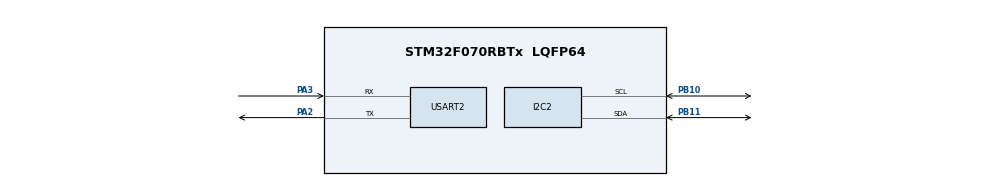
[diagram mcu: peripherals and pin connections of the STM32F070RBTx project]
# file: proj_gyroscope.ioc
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Mcu.Family=STM32F0
Mcu.Name=STM32F070RBTx
Mcu.Package=LQFP64
PA2.Mode=Asynchronous
PA2.Signal=USART2_TX
PA3.Mode=Asynchronous
PA3.Signal=USART2_RX
PB10.Mode=I2C
PB10.Signal=I2C2_SCL
PB11.Mode=I2C
PB11.Signal=I2C2_SDA
PC14-OSC32_IN.Mode=LSE-External-Oscillator
PC14-OSC32_IN.Signal=RCC_OSC32_IN
PC15-OSC32_OUT.Mode=LSE-External-Oscillator
PC15-OSC32_OUT.Signal=RCC_OSC32_OUT
PF0-OSC_IN.Mode=HSE-External-Oscillator
PF0-OSC_IN.Signal=RCC_OSC_IN
PF1-OSC_OUT.Mode=HSE-External-Oscillator
PF1-OSC_OUT.Signal=RCC_OSC_OUT
ProjectManager.HeapSize=0x200
ProjectManager.StackSize=0x400
ProjectManager.TargetToolchain=STM32CubeIDE
USART2.VirtualMode-Asynchronous=VM_ASYNC
board=custom

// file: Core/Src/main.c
/* USER CODE BEGIN Header */
/**
  ******************************************************************************
  * @file           : main.c
  * @brief          : Main program body
  ******************************************************************************
  * @attention
  *
  * <h2><center>&copy; Copyright (c) 2020 STMicroelectronics.
  * All rights reserved.</center></h2>
  *
  * This software component is licensed by ST under BSD 3-Clause license,
  * the "License"; You may not use this file except in compliance with the
  * License. You may obtain a copy of the License at:
  *                        opensource.org/licenses/BSD-3-Clause
  *
  ******************************************************************************
  */
/* USER CODE END Header */
#include "main.h"

/* USER CODE BEGIN Includes */
#include "stdbool.h"
#include "string.h"
#include "mp6050.h"

/* USER CODE END Includes */

I2C_HandleTypeDef hi2c2;

UART_HandleTypeDef huart2;

void SystemClock_Config(void);
static void MX_GPIO_Init(void);
static void MX_I2C2_Init(void);
static void MX_USART2_UART_Init(void);

/* USER CODE BEGIN 0 */
mpu6050_t mpu6050;

/* USER CODE END 0 */

int main(void)
{

  /* MCU Configuration--------------------------------------------------------*/

  /* Reset of all peripherals, Initializes the Flash interface and the Systick. */
  HAL_Init();

  /* Configure the system clock */
  SystemClock_Config();

  /* Initialize all configured peripherals */
  MX_GPIO_Init();
  MX_I2C2_Init();
  MX_USART2_UART_Init();
  /* USER CODE BEGIN 2 */

  /* 1. Initialize MP6050	*/
  while(init_mpu6050(&hi2c2, &mpu6050)) {}

  int16_t temp = 0;
  int16_t gyro_x = 0, gyro_y = 0, gyro_z = 0;
  int16_t accel_x = 0, accel_y = 0, accel_z = 0;

  /* USER CODE END 2 */

  /* Infinite loop */
  while (1)
  {

    /* USER CODE BEGIN 3 */
	  // 2. Read Temperature

	  mpu_readTemp(&hi2c2, &mpu6050);
	  	  HAL_Delay(10);
	  temp = getTemp(&mpu6050);

	  // 3. Read Gyroscope register

	  mpu_readGyroscope(&hi2c2, &mpu6050);
	  gyro_x = read_Gyro_X(&mpu6050);
	  gyro_y = read_Gyro_Y(&mpu6050);
	  gyro_z = read_Gyro_Z(&mpu6050);
	  	  HAL_Delay(10);

	  // 4. Read accelerometer register

	  mpu_readAccel(&hi2c2, &mpu6050);
	  accel_x = read_accel_X(&mpu6050);
	  accel_y = read_accel_Y(&mpu6050);
	  accel_z = read_accel_Z(&mpu6050);
	  	  HAL_Delay(10);

	  // 5. Send all data via uart to display on Serial monitor

//	 HAL_UART_Transmit(&huart2, (uint8_t *)&temp, sizeof(temp), 100);
//	  	  HAL_Delay(100);

//	 HAL_UART_Transmit(&huart2, (uint8_t *)&gyro_x, sizeof(gyro_x), 100);
//	 HAL_Delay(100);
//	 HAL_UART_Transmit(&huart2, (uint8_t *)&gyro_y, sizeof(gyro_y), 100);
//	 HAL_Delay(100);
//	 HAL_UART_Transmit(&huart2, (uint8_t *)&gyro_z, sizeof(gyro_z), 100);
//		  HAL_Delay(100);

//	 HAL_UART_Transmit(&huart2, &accel_x, sizeof(accel_x), 100);
//	  HAL_Delay(100);
//	 HAL_UART_Transmit(&huart2, (uint8_t *)&accel_y, sizeof(accel_y), 100);
//	  HAL_Delay(100);
//	 HAL_UART_Transmit(&huart2, (uint8_t *)&accel_z, sizeof(accel_z), 100);
//	  	  HAL_Delay(100);
  }
  /* USER CODE END 3 */
}

void SystemClock_Config(void)
{
  RCC_OscInitTypeDef RCC_OscInitStruct = {0};
  RCC_ClkInitTypeDef RCC_ClkInitStruct = {0};

  /** Initializes the RCC Oscillators according to the specified parameters
  * in the RCC_OscInitTypeDef structure.
  */
  RCC_OscInitStruct.OscillatorType = RCC_OSCILLATORTYPE_HSI;
  RCC_OscInitStruct.HSIState = RCC_HSI_ON;
  RCC_OscInitStruct.HSICalibrationValue = RCC_HSICALIBRATION_DEFAULT;
  RCC_OscInitStruct.PLL.PLLState = RCC_PLL_NONE;
  if (HAL_RCC_OscConfig(&RCC_OscInitStruct) != HAL_OK)
  {
    Error_Handler();
  }
  /** Initializes the CPU, AHB and APB buses clocks
  */
  RCC_ClkInitStruct.ClockType = RCC_CLOCKTYPE_HCLK|RCC_CLOCKTYPE_SYSCLK
                              |RCC_CLOCKTYPE_PCLK1;
  RCC_ClkInitStruct.SYSCLKSource = RCC_SYSCLKSOURCE_HSI;
  RCC_ClkInitStruct.AHBCLKDivider = RCC_SYSCLK_DIV1;
  RCC_ClkInitStruct.APB1CLKDivider = RCC_HCLK_DIV1;

  if (HAL_RCC_ClockConfig(&RCC_ClkInitStruct, FLASH_LATENCY_0) != HAL_OK)
  {
    Error_Handler();
  }
}

static void MX_I2C2_Init(void)
{

  hi2c2.Instance = I2C2;
  hi2c2.Init.Timing = 0x2000090E;
  hi2c2.Init.OwnAddress1 = 0;
  hi2c2.Init.AddressingMode = I2C_ADDRESSINGMODE_7BIT;
  hi2c2.Init.DualAddressMode = I2C_DUALADDRESS_DISABLE;
  hi2c2.Init.OwnAddress2 = 0;
  hi2c2.Init.OwnAddress2Masks = I2C_OA2_NOMASK;
  hi2c2.Init.GeneralCallMode = I2C_GENERALCALL_DISABLE;
  hi2c2.Init.NoStretchMode = I2C_NOSTRETCH_DISABLE;
  if (HAL_I2C_Init(&hi2c2) != HAL_OK)
  {
    Error_Handler();
  }
  /** Configure Analogue filter
  */
  if (HAL_I2CEx_ConfigAnalogFilter(&hi2c2, I2C_ANALOGFILTER_ENABLE) != HAL_OK)
  {
    Error_Handler();
  }
  /** Configure Digital filter
  */
  if (HAL_I2CEx_ConfigDigitalFilter(&hi2c2, 0) != HAL_OK)
  {
    Error_Handler();
  }

}

static void MX_USART2_UART_Init(void)
{

  huart2.Instance = USART2;
  huart2.Init.BaudRate = 38400;
  huart2.Init.WordLength = UART_WORDLENGTH_8B;
  huart2.Init.StopBits = UART_STOPBITS_1;
  huart2.Init.Parity = UART_PARITY_NONE;
  huart2.Init.Mode = UART_MODE_TX_RX;
  huart2.Init.HwFlowCtl = UART_HWCONTROL_NONE;
  huart2.Init.OverSampling = UART_OVERSAMPLING_16;
  huart2.Init.OneBitSampling = UART_ONE_BIT_SAMPLE_DISABLE;
  huart2.AdvancedInit.AdvFeatureInit = UART_ADVFEATURE_NO_INIT;
  if (HAL_UART_Init(&huart2) != HAL_OK)
  {
    Error_Handler();
  }

}

static void MX_GPIO_Init(void)
{

  /* GPIO Ports Clock Enable */
  __HAL_RCC_GPIOC_CLK_ENABLE();
  __HAL_RCC_GPIOF_CLK_ENABLE();
  __HAL_RCC_GPIOA_CLK_ENABLE();
  __HAL_RCC_GPIOB_CLK_ENABLE();

}

void Error_Handler(void)
{
}

/************************ (C) COPYRIGHT STMicroelectronics *****END OF FILE****/
